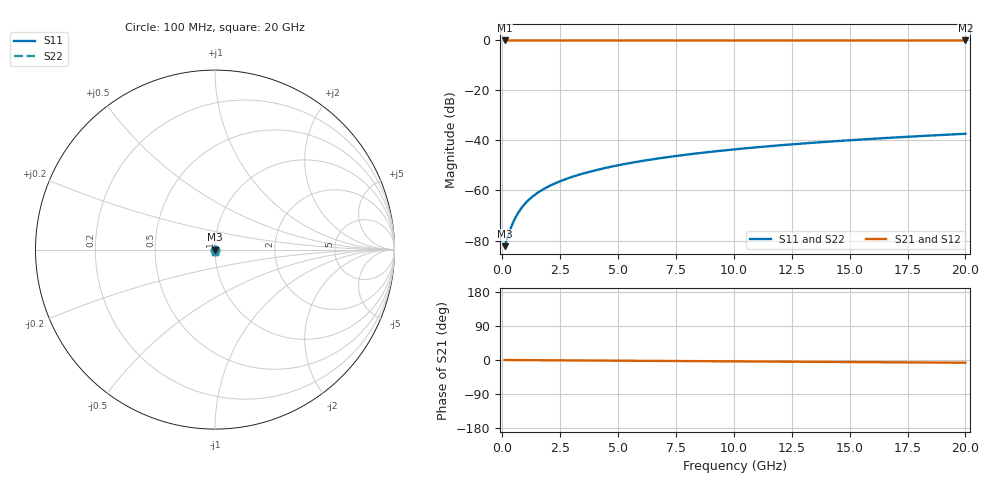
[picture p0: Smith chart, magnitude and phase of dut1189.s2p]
! Touchstone file exported from HFSS 2026.1.0
!  File:  C:/ffzhzh/LocalFiles/Ansys_Project_Files/temp_train_TSV_1189_1783192381_51560.aedt
!  Generated:  03:14:12 AM Jul  5, 2026
!  Design:  TSV
!  Project:  temp_train_TSV_1189_1783192381_51560
! Variables:
!  h_bsmrdl = 2um
!  h_ox = 20um
!  h_rdl = 5um
!  h_sub = 69.53um
!  h_tmrdl = 5um
!  h_tsv = 69.53um
!  h_via = 3um
!  l_bsmrdl = 300um
!  l_sub = 428.36um
!  l_tmrdl = 200um
!  m_sub = 200um
!  pitch = 50.69um
!  r_tsv = 14.18um
!  s_tmrdl = 10um
!  w_bsmrdl = 18um
!  w_sub = 500um
!  w_tmrdl = 12um
!  x_tsv_center1 = 206um
!  x_tsv_center2 = 524um
!  x_tsv_center3 = 736um
!  x_tsv_center4 = 1054um
!  x_tsv_center5 = 1266um
!  x_tsv_center6 = 1584um
# GHz S MA R 50.000000
! Terminal data exported
! Port[1] = TSV1_1_T1
! Port[2] = TSV1_1_T2
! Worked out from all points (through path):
!   200 points, 100 MHz to 20 GHz, reference 50 ohm
!   highest |S21| = 0.00 dB at 100 MHz (marker M1); lowest = 0.0 dB at 20 GHz (marker M2)
!   lowest |S11| = -82.3 dB at 100 MHz (marker M3), VSWR 1.00, Z = 50 - j0.00313 ohm
!   |S11| at or under -10 dB: start of sweep to end of sweep
!   |S22| runs from -82.3 to -37.3 dB; largest |S21 - S12| = 0
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0.1  7.703e-05 -24.0  0.9999 -0.0  0.9999 -0.0  7.703e-05 -24.0
! Gamma 0 0 0 0
! Port Impedance 50 0 50 0
0.2  0.0001054 -38.7  0.9999 -0.1  0.9999 -0.1  0.0001054 -38.7
0.3  0.0001453 -46.8  0.9999 -0.1  0.9999 -0.1  0.0001453 -46.8
0.4  0.0001934 -51.8  0.9999 -0.2  0.9999 -0.2  0.0001934 -51.8
0.5  0.0002474 -55.5  0.9999 -0.2  0.9999 -0.2  0.0002474 -55.5
0.6  0.0003055 -58.5  0.9998 -0.2  0.9998 -0.2  0.0003055 -58.5
0.7  0.0003663 -61.1  0.9998 -0.3  0.9998 -0.3  0.0003663 -61.1
0.9  0.0004925 -65.2  0.9998 -0.3  0.9998 -0.3  0.0004925 -65.2
1.2  0.0006864 -69.7  0.9998 -0.4  0.9998 -0.4  0.0006864 -69.7
1.4  0.0008165 -71.9  0.9997 -0.5  0.9997 -0.5  0.0008165 -71.9
1.6  0.0009467 -73.7  0.9997 -0.6  0.9997 -0.6  0.0009467 -73.6
2.1  0.001272 -76.8  0.9997 -0.8  0.9997 -0.8  0.001272 -76.8
2.7  0.001663 -79.2  0.9997 -1.0  0.9997 -1.0  0.001664 -79.2
3.5  0.00219 -81.3  0.9996 -1.3  0.9996 -1.3  0.00219 -81.3
4.2  0.002655 -82.5  0.9996 -1.5  0.9996 -1.5  0.002655 -82.5
5  0.003192 -83.6  0.9995 -1.8  0.9995 -1.8  0.003192 -83.6
6.8  0.004417 -85.5  0.9995 -2.5  0.9995 -2.5  0.004417 -85.5
8.3  0.005449 -86.8  0.9994 -3.0  0.9994 -3.0  0.005449 -86.7
10.1  0.006695 -88.1  0.9993 -3.6  0.9993 -3.6  0.006695 -88.0
13.4  0.00899 -90.1  0.9992 -4.8  0.9992 -4.8  0.00899 -90.0
16.7  0.0113 -91.8  0.9991 -6.0  0.9991 -6.0  0.0113 -91.8
20  0.01363 -93.3  0.999 -7.2  0.999 -7.2  0.01363 -93.3
